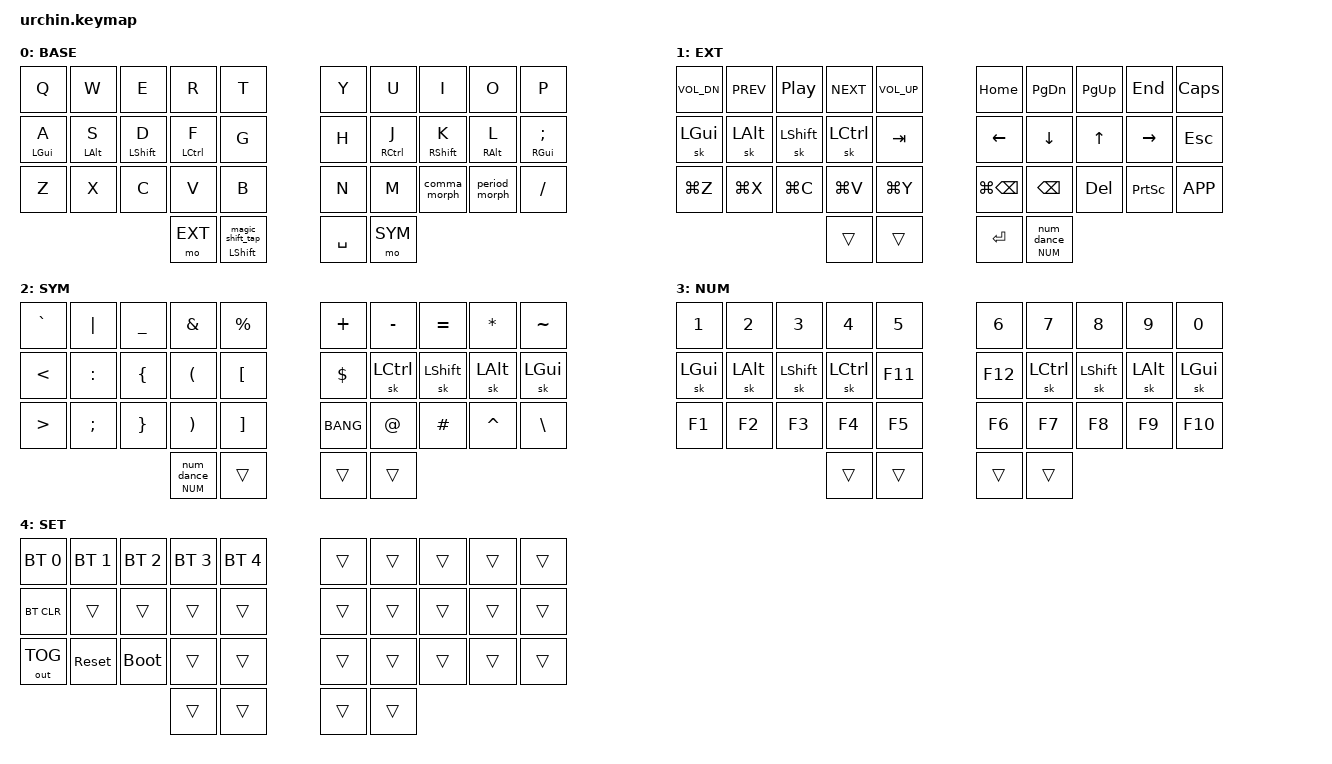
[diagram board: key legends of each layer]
/*
 * 34-Key Split (3x5 + 2 thumbs/side) — ZMK keymap inspired by Caliply layout
 * Layers: BASE, EXT (extend/nav/edit), SYM (symbols), NUM (numbers/functions), SETTINGS
 *
 * Features urob's "timeless" home row mods for virtually misfire-free HRMs
 * Features urob's "numword" auto-layer for seamless number entry
 * Features urob's "magic shift" for smart repeat/sticky-shift/caps-word
 * Features leader key sequences (D+F combo) for symbols and system commands
 *
 * BASE:     QWERTY with timeless home row mods (GASC layout), mod-morphs (, -> ', . -> ")
 *           Magic shift on left thumb: tap after letter=repeat, after other=sticky-shift,
 *           double-tap=caps-word, hold=shift
 *           Leader key via D+F combo: system (bl/rst/bc), symbols (ar/ne/le/ge),
 *           accents (ea/eg/ec/aa/ag/nt/cc for é/è/ê/á/à/ñ/ç),
 *           Greek (ga/gb/gg/gd/ge/gt/gl/gm/gp/gs/go for α/β/γ/δ/ε/θ/λ/μ/π/σ/ω)
 * EXT:      Media controls, one-shot modifiers, nav arrows, editing shortcuts
 *           (Cmd+Z/X/C/V/Y for Undo/Cut/Copy/Paste/Redo — use one-shot Ctrl for Windows)
 *           Smart-num on right thumb: tap=numword, double-tap=sticky, hold=momentary NUM
 * SYM:      Programming symbols with one-shot mods, combos for =>, <=, >=, !=
 *           Smart-num on left thumb: tap=numword, double-tap=sticky, hold=momentary NUM
 * NUM:      Number row (1-0), function keys (F1-F12), one-shot modifiers on both sides
 * SETTINGS: BT profiles (0-4), BT clear, output toggle, bootloader, reset (EXT+SYM to access)
 */

#include <behaviors.dtsi>
#include <behaviors/num_word.dtsi>      // Requires zmk-auto-layer module
#include <behaviors/unicode.dtsi>       // Requires zmk-unicode module
#include <dt-bindings/zmk/keys.h>
#include <dt-bindings/zmk/bt.h>
#include <dt-bindings/zmk/outputs.h>

/* ---- Layer indices ---- */
#define BASE 0
#define EXT  1
#define SYM  2
#define NUM  3
#define SET  4
#define SETTINGS 4

/* Key position labels for 34-key layout (3x5 + 2 thumbs per side) */
#define LT0  0  // left-top row
#define LT1  1
#define LT2  2
#define LT3  3
#define LT4  4
#define RT0  5  // right-top row
#define RT1  6
#define RT2  7
#define RT3  8
#define RT4  9
#define LM0 10  // left-middle row (home row)
#define LM1 11
#define LM2 12
#define LM3 13
#define LM4 14
#define RM0 15  // right-middle row (home row)
#define RM1 16
#define RM2 17
#define RM3 18
#define RM4 19
#define LB0 20  // left-bottom row
#define LB1 21
#define LB2 22
#define LB3 23
#define LB4 24
#define RB0 25  // right-bottom row
#define RB1 26
#define RB2 27
#define RB3 28
#define RB4 29
#define LH0 30  // left thumb
#define LH1 31
#define RH0 32  // right thumb
#define RH1 33

#define KEYS_L LT0 LT1 LT2 LT3 LT4 LM0 LM1 LM2 LM3 LM4 LB0 LB1 LB2 LB3 LB4  // left-hand keys
#define KEYS_R RT0 RT1 RT2 RT3 RT4 RM0 RM1 RM2 RM3 RM4 RB0 RB1 RB2 RB3 RB4  // right-hand keys
#define THUMBS LH0 LH1 RH0 RH1                                              // thumb keys

/* Configure caps-word: mods deactivate caps-word */
&caps_word {
  /delete-property/ ignore-modifiers;
};

/ {
  /* ---- Combos ---- */
  combos {
    compatible = "zmk,combos";

    /* /* Base layer combos */
    /* combo_esc { */
    /*   timeout-ms = <50>; */
    /*   key-positions = <1 2>; // W + E */
    /*   bindings = <&kp ESC>; */
    /*   layers = <BASE>; */
    /* }; */
    /**/
    /* combo_tab { */
    /*   timeout-ms = <50>; */
    /*   key-positions = <21 22>; // X + C */
    /*   bindings = <&kp TAB>; */
    /*   layers = <BASE>; */
    /* }; */
    /**/
    /* combo_bspc { */
    /*   timeout-ms = <50>; */
    /*   key-positions = <7 8>; // I + O */
    /*   bindings = <&kp BSPC>; */
    /*   layers = <BASE>; */
    /* }; */
    /**/
    /* combo_enter { */
    /*   timeout-ms = <50>; */
    /*   key-positions = <27 28>; // , + ' */
    /*   bindings = <&kp ENTER>; */
    /*   layers = <BASE>; */
    /* }; */

    /* Settings layer combo - both left thumb keys */
    combo_settings {
      timeout-ms = <50>;
      key-positions = <30 31>; // EXT + LSHIFT (both left thumb keys)
      bindings = <&mo SET>;
      layers = <BASE>;
    };

    /* Leader key combo - D + F on home row */
    combo_leader {
      timeout-ms = <50>;
      key-positions = <12 13>; // D + F (Shift + Ctrl home row keys)
      bindings = <&leader>;
      layers = <BASE>;
      require-prior-idle-ms = <150>;
    };

    /* Programming combos from target keymap */
    combo_arrow {
      timeout-ms = <50>;
      key-positions = <22 23>; // { + (  -> =>
      bindings = <&arrow>;
      layers = <SYM>;
    };

    combo_lte {
      timeout-ms = <50>;
      key-positions = <12 13>; // _ + &  -> <=
      bindings = <&lte>;
      layers = <SYM>;
    };

    combo_gte {
      timeout-ms = <50>;
      key-positions = <16 17>; // - + =  -> >=
      bindings = <&gte>;
      layers = <SYM>;
    };

    combo_neq {
      timeout-ms = <50>;
      key-positions = <11 12>; // | + _  -> !=
      bindings = <&neq>;
      layers = <SYM>;
    };
  };

  /* ---- Helper behaviors ---- */
  behaviors {
    /* Generic hold-tap for "hold-preferred" actions (hold = arg0, tap = arg1) */
    qt: quick_tap {
      compatible = "zmk,behavior-hold-tap";
      label = "QUICK_TAP";
      #binding-cells = <2>;
      flavor = "hold-preferred";
      tapping-term-ms = <200>;
      quick-tap-ms = <200>;
      bindings = <&kp>, <&kp>;
    };

    /* Timeless home row mods - GASC layout (GUI, Alt, Shift, Ctrl)
     * Based on urob's timeless HRM approach:
     * - Long tapping-term (280ms) makes timing insensitive
     * - Balanced flavor activates on nested keypresses
     * - Positional hold-tap: only triggers mods when opposite hand is used
     * - hold-trigger-on-release allows combining mods on same hand
     */
    hml: homerow_mods_left {
      compatible = "zmk,behavior-hold-tap";
      label = "HOMEROW_MODS_LEFT";
      #binding-cells = <2>;
      flavor = "balanced";
      tapping-term-ms = <280>;
      quick-tap-ms = <175>;
      require-prior-idle-ms = <150>;
      bindings = <&kp>, <&kp>;
      hold-trigger-key-positions = <KEYS_R THUMBS>;
      hold-trigger-on-release;
    };

    hmr: homerow_mods_right {
      compatible = "zmk,behavior-hold-tap";
      label = "HOMEROW_MODS_RIGHT";
      #binding-cells = <2>;
      flavor = "balanced";
      tapping-term-ms = <280>;
      quick-tap-ms = <175>;
      require-prior-idle-ms = <150>;
      bindings = <&kp>, <&kp>;
      hold-trigger-key-positions = <KEYS_L THUMBS>;
      hold-trigger-on-release;
    };

    /* Repeat last keypress (ZMK behavior); if unavailable, replace uses with &kp AGAIN */
    rep: rep {
      compatible = "zmk,behavior-key-repeat";
      label = "KEY_REPEAT";
      #binding-cells = <0>;
      usage-pages = <0x07>;
    };

    /* Comma/Single-quote mod-morph */
    comma_morph: comma_morph {
      compatible = "zmk,behavior-mod-morph";
      label = "COMMA_MORPH";
      #binding-cells = <0>;
      bindings = <&kp COMMA>, <&kp SQT>;
      mods = <(MOD_LSFT|MOD_RSFT)>;
    };

    /* Period/Double-quote mod-morph */
    period_morph: period_morph {
      compatible = "zmk,behavior-mod-morph";
      label = "PERIOD_MORPH";
      #binding-cells = <0>;
      bindings = <&kp DOT>, <&kp DQT>;
      mods = <(MOD_LSFT|MOD_RSFT)>;
    };

    /* Smart-num: tap for numword, double-tap for sticky, hold for momentary NUM layer */
    smart_num: smart_num {
      compatible = "zmk,behavior-hold-tap";
      label = "SMART_NUM";
      #binding-cells = <2>;
      flavor = "balanced";
      tapping-term-ms = <200>;
      quick-tap-ms = <175>;
      bindings = <&mo>, <&num_dance>;
    };

    num_dance: num_dance {
      compatible = "zmk,behavior-tap-dance";
      label = "NUM_DANCE";
      #binding-cells = <0>;
      tapping-term-ms = <200>;
      bindings = <&num_word NUM>, <&sl NUM>;
    };

    /* Magic shift: tap for repeat/sticky-shift, double-tap for caps-word, hold for shift
     * - Tap after letter → key-repeat
     * - Tap after other key → sticky-shift
     * - Shift + tap (or double-tap) → caps-word
     * - Hold → regular shift
     */
    magic_shift: magic_shift {
      compatible = "zmk,behavior-hold-tap";
      label = "MAGIC_SHIFT";
      #binding-cells = <2>;
      flavor = "balanced";
      tapping-term-ms = <200>;
      quick-tap-ms = <175>;
      bindings = <&kp>, <&magic_shift_tap>;
    };

    magic_shift_tap: magic_shift_tap {
      compatible = "zmk,behavior-mod-morph";
      label = "MAGIC_SHIFT_TAP";
      #binding-cells = <0>;
      bindings = <&shift_repeat>, <&caps_word>;
      mods = <(MOD_LSFT)>;
    };

    shift_repeat: shift_repeat {
      compatible = "zmk,behavior-adaptive-key";
      label = "SHIFT_REPEAT";
      #binding-cells = <0>;
      bindings = <&sk LSHFT>;
      repeat {
        trigger-keys = <
          LT0 LT1 LT2 LT3 LT4 RT0 RT1 RT2 RT3 RT4  // Top row letters
          LM0 LM1 LM2 LM3 LM4 RM0 RM1 RM2 RM3 RM4  // Home row letters
          LB0 LB1 LB2 LB3 LB4 RB0 RB1 RB2 RB3 RB4  // Bottom row letters
        >;
        bindings = <&key_repeat>;
        max-prior-idle-ms = <1200>;
        strict-modifiers;
      };
    };

    /* ---- Leader key behavior with sequences ---- */
    leader: leader {
      compatible = "zmk,behavior-leader-key";
      #binding-cells = <0>;

      /* System commands */
      bl { sequence = <B L>; bindings = <&bootloader>; };
      rst { sequence = <R S T>; bindings = <&sys_reset>; };
      bc { sequence = <B C>; bindings = <&bt BT_CLR>; };

      /* Programming symbols */
      ar { sequence = <A R>; bindings = <&arrow>; };   // =>
      ne { sequence = <N E>; bindings = <&neq>; };      // !=
      le { sequence = <L E>; bindings = <&lte>; };      // <=
      ge { sequence = <G E>; bindings = <&gte>; };      // >=

      /* Accented characters */
      ea { sequence = <E A>; bindings = <&uc_eacute>; };  // é
      eg { sequence = <E G>; bindings = <&uc_egrave>; };  // è
      ec { sequence = <E C>; bindings = <&uc_ecirc>; };   // ê
      aa { sequence = <A A>; bindings = <&uc_aacute>; };  // á
      ag { sequence = <A G>; bindings = <&uc_agrave>; };  // à
      nt { sequence = <N T>; bindings = <&uc_ntilde>; };  // ñ
      cc { sequence = <C C>; bindings = <&uc_ccedil>; };  // ç

      /* Greek letters */
      ga { sequence = <G A>; bindings = <&uc_alpha>; };     // α
      gb { sequence = <G B>; bindings = <&uc_beta>; };      // β
      gg { sequence = <G G>; bindings = <&uc_gamma>; };     // γ
      gd { sequence = <G D>; bindings = <&uc_delta>; };     // δ
      gee { sequence = <G E E>; bindings = <&uc_epsilon>; }; // ε (gee to avoid conflict with ge)
      gt { sequence = <G T>; bindings = <&uc_theta>; };     // θ
      gl { sequence = <G L>; bindings = <&uc_lambda>; };    // λ
      gm { sequence = <G M>; bindings = <&uc_mu>; };        // μ
      gp { sequence = <G P>; bindings = <&uc_pi>; };        // π
      gs { sequence = <G S>; bindings = <&uc_sigma>; };     // σ
      go { sequence = <G O>; bindings = <&uc_omega>; };     // ω
    };
  };

  /* ---- Macros ---- */
  macros {
    arrow: arrow {
      label = "ARROW";
      compatible = "zmk,behavior-macro";
      #binding-cells = <0>;
      bindings = <&kp EQUAL &kp GT>;
    };

    lte: lte {
      label = "LESS_THAN_EQUAL";
      compatible = "zmk,behavior-macro";
      #binding-cells = <0>;
      bindings = <&kp LT &kp EQUAL>;
    };

    gte: gte {
      label = "GREATER_THAN_EQUAL";
      compatible = "zmk,behavior-macro";
      #binding-cells = <0>;
      bindings = <&kp GT &kp EQUAL>;
    };

    neq: neq {
      label = "NOT_EQUAL";
      compatible = "zmk,behavior-macro";
      #binding-cells = <0>;
      bindings = <&kp EXCL &kp EQUAL>;
    };

    /* Accented characters (common European) */
    uc_eacute: uc_eacute {
      compatible = "zmk,behavior-macro";
      #binding-cells = <0>;
      bindings = <&macro_tap &uc 0x00E9 0>; // é
    };
    uc_egrave: uc_egrave {
      compatible = "zmk,behavior-macro";
      #binding-cells = <0>;
      bindings = <&macro_tap &uc 0x00E8 0>; // è
    };
    uc_ecirc: uc_ecirc {
      compatible = "zmk,behavior-macro";
      #binding-cells = <0>;
      bindings = <&macro_tap &uc 0x00EA 0>; // ê
    };
    uc_aacute: uc_aacute {
      compatible = "zmk,behavior-macro";
      #binding-cells = <0>;
      bindings = <&macro_tap &uc 0x00E1 0>; // á
    };
    uc_agrave: uc_agrave {
      compatible = "zmk,behavior-macro";
      #binding-cells = <0>;
      bindings = <&macro_tap &uc 0x00E0 0>; // à
    };
    uc_ntilde: uc_ntilde {
      compatible = "zmk,behavior-macro";
      #binding-cells = <0>;
      bindings = <&macro_tap &uc 0x00F1 0>; // ñ
    };
    uc_ccedil: uc_ccedil {
      compatible = "zmk,behavior-macro";
      #binding-cells = <0>;
      bindings = <&macro_tap &uc 0x00E7 0>; // ç
    };

    /* Greek letters (common in math/science) */
    uc_alpha: uc_alpha {
      compatible = "zmk,behavior-macro";
      #binding-cells = <0>;
      bindings = <&macro_tap &uc 0x03B1 0>; // α
    };
    uc_beta: uc_beta {
      compatible = "zmk,behavior-macro";
      #binding-cells = <0>;
      bindings = <&macro_tap &uc 0x03B2 0>; // β
    };
    uc_gamma: uc_gamma {
      compatible = "zmk,behavior-macro";
      #binding-cells = <0>;
      bindings = <&macro_tap &uc 0x03B3 0>; // γ
    };
    uc_delta: uc_delta {
      compatible = "zmk,behavior-macro";
      #binding-cells = <0>;
      bindings = <&macro_tap &uc 0x03B4 0>; // δ
    };
    uc_epsilon: uc_epsilon {
      compatible = "zmk,behavior-macro";
      #binding-cells = <0>;
      bindings = <&macro_tap &uc 0x03B5 0>; // ε
    };
    uc_theta: uc_theta {
      compatible = "zmk,behavior-macro";
      #binding-cells = <0>;
      bindings = <&macro_tap &uc 0x03B8 0>; // θ
    };
    uc_lambda: uc_lambda {
      compatible = "zmk,behavior-macro";
      #binding-cells = <0>;
      bindings = <&macro_tap &uc 0x03BB 0>; // λ
    };
    uc_mu: uc_mu {
      compatible = "zmk,behavior-macro";
      #binding-cells = <0>;
      bindings = <&macro_tap &uc 0x03BC 0>; // μ
    };
    uc_pi: uc_pi {
      compatible = "zmk,behavior-macro";
      #binding-cells = <0>;
      bindings = <&macro_tap &uc 0x03C0 0>; // π
    };
    uc_sigma: uc_sigma {
      compatible = "zmk,behavior-macro";
      #binding-cells = <0>;
      bindings = <&macro_tap &uc 0x03C3 0>; // σ
    };
    uc_omega: uc_omega {
      compatible = "zmk,behavior-macro";
      #binding-cells = <0>;
      bindings = <&macro_tap &uc 0x03C9 0>; // ω
    };
  };

  /* ---- Conditional layers ---- */
  conditional_layers {
    compatible = "zmk,conditional-layers";
  };

  keymap {
    compatible = "zmk,keymap";

    /* ========================== BASE (QWERTY) ========================== */
    base_layer {
      label = "BASE";
      bindings = <
        /* L0 */   &kp Q          &kp W          &kp E          &kp R          &kp T            &kp Y       &kp U          &kp I          &kp O          &kp P
        /* L1 */   &hml LGUI A    &hml LALT S    &hml LSHFT D   &hml LCTRL F   &kp G            &kp H       &hmr RCTRL J   &hmr RSHFT K   &hmr RALT L    &hmr RGUI SEMI
         /* L2 */   &kp Z          &kp X          &kp C          &kp V          &kp B            &kp N       &kp M          &comma_morph   &period_morph  &kp SLASH
        /* TH */   &mo EXT                       &magic_shift LSHFT 0                           &kp SPACE                  &mo SYM
      >;
    };

    /* ===================== EXT (Extend / Nav / Edit) =================== */
    ext_layer {
      label = "EXT";
      bindings = <
        /* L0 */   &kp C_VOL_DN &kp C_PREV   &kp C_PLAY_PAUSE &kp C_NEXT   &kp C_VOL_UP     &kp HOME     &kp PG_DN    &kp PG_UP    &kp END      &kp CAPS
        /* L1 */   &sk LGUI     &sk LALT     &sk LSHFT        &sk LCTRL    &kp TAB          &kp LEFT     &kp DOWN     &kp UP       &kp RIGHT    &kp ESC
        /* L2 */   &kp LG(Z)    &kp LG(X)    &kp LG(C)        &kp LG(V)    &kp LG(Y)        &kp LG(BSPC) &kp BSPC     &kp DEL      &kp PSCRN    &kp K_APP
        /* TH */   &trans                    &trans                                         &kp ENTER                 &smart_num NUM 0
      >;
    };

    /* ============================ SYM (Symbols) ======================== */
    sym_layer {
      label = "SYM";
      bindings = <
        /* L0 */   &kp GRAVE  &kp PIPE     &kp UNDER    &kp AMPS     &kp PRCNT        &kp PLUS     &kp MINUS    &kp EQUAL    &kp STAR     &kp TILDE
        /* L1 */   &kp LT     &kp COLON    &kp LBRC     &kp LPAR     &kp LBKT         &kp DLLR     &sk LCTRL    &sk LSHFT    &sk LALT     &sk LGUI
        /* L2 */   &kp GT     &kp SEMI     &kp RBRC     &kp RPAR     &kp RBKT         &kp BANG     &kp AT       &kp HASH     &kp CARET    &kp BSLH
        /* TH */   &smart_num NUM 0        &trans                                     &trans                    &trans
      >;
    };

    /* ============================ NUM (Numpad) ========================= */
    num_layer {
      label = "NUM";
      bindings = <
        /* L0 */   &kp N1     &kp N2       &kp N3       &kp N4       &kp N5           &kp N6      &kp N7       &kp N8       &kp N9       &kp N0
        /* L1 */   &sk LGUI   &sk LALT     &sk LSHFT    &sk LCTRL    &kp F11          &kp F12     &sk LCTRL    &sk LSHFT    &sk LALT     &sk LGUI
        /* L2 */   &kp F1     &kp F2       &kp F3       &kp F4       &kp F5           &kp F6      &kp F7       &kp F8       &kp F9       &kp F10
        /* TH */   &trans                  &trans                                     &trans                   &trans
      >;
    };

    /* ============================ SET (Settings) ======================= */
    set_layer {
      label = "SET";
      bindings = <
        /* L0 */   &bt BT_SEL 0 &bt BT_SEL 1 &bt BT_SEL 2 &bt BT_SEL 3 &bt BT_SEL 4     &trans      &trans       &trans      &trans       &trans
        /* L1 */   &bt BT_CLR   &trans       &trans       &trans       &trans           &trans      &trans       &trans      &trans       &trans
        /* L2 */   &out OUT_TOG &sys_reset   &bootloader  &trans       &trans           &trans      &trans       &trans      &trans       &trans
        /* TH */   &trans                    &trans                                     &trans                   &trans
      >;
    };
  };
};
